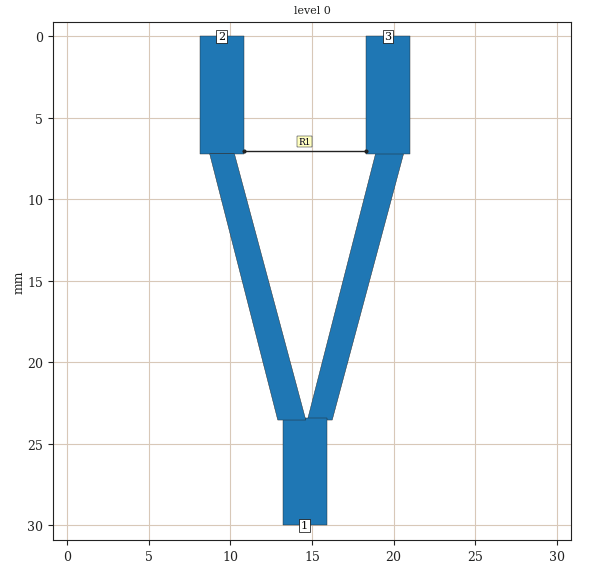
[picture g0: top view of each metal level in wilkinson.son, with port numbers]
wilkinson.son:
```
FTYP SONPROJ 13 ! Sonnet Project File
VER 15.53.lite
HEADER
LIC SL287748.103150 001c42b2201b ANTHONYBUGA3AE4 anthonybugatto
DAT 04/20/2018 22:56:15
BUILT_BY_CREATED xgeom 15.53-Lite 04/18/2018 14:51:20
BUILT_BY_SAVED xgeom 15.53-Lite
MDATE 04/20/2018 22:56:15
HDATE 04/20/2018 22:56:15
END HEADER
DIM
FREQ GHZ
IND NH
LNG MM
ANG DEG
CON /OH
CAP PF
RES OH
END DIM
FREQ
ABS 1.2 3.6 
END FREQ
CONTROL
ABS
OPTIONS  -dj 
SPEED 0
CACHE_ABS 1
TARG_ABS 300
Q_ACC N
END CONTROL
GEO
TMET "Free Space" 0 FREESPACE 376.7303136 0 0 0
BMET "Lossless" 0 SUP 0 0 0 0
BOX 1 30 30 200 200 20 0
      1000 1 1 0 0 0 0 "Air"
      1.5 4.4 1 0.02 0 0 0 "FR-4"
LORGN 0 30 U 
POR1 STD
POLY 14 1
2
1 50 0 0 0 14.54999978 30.00000014 
POR1 STD
POLY 16 1
0
2 50 0 0 0 9.44999978 7.96967751e-010 
POR1 STD
POLY 18 1
0
3 50 0 0 0 19.64999978 7.969678251e-010 
SMD 0 "R1"
ID 9
GNDREF F
TWTYPE CUST
TWVALUE 2
SBOX 12.22499973 16.27499983 6.442499984 7.657500017
PBSHW N
LPOS 14.24999978 6.442499984
TYPE IDEAL RES 100
SMDP 0 10.79999967 7.05 L 4 1 
SMDP 0 18.29999989 7.05 R 5 2 
END
NUM 5
0 5 -1 N 13 1 1 100 100 0 0 0 Y
18.9 7.2
20.6195943 7.2
16.24028 23.53956597
14.72014 23.53956597
18.9 7.2
END
0 5 -1 N 14 1 1 100 100 0 0 0 Y
13.19999989 23.40000014
15.89999967 23.40000014
15.89999967 30.00000014
13.19999989 30.00000014
13.19999989 23.40000014
END
0 5 -1 N 16 1 1 100 100 0 0 0 Y
8.09999989 7.96967751e-010
10.79999967 7.96967751e-010
10.79999967 7.20000014
8.09999989 7.20000014
8.09999989 7.96967751e-010
END
0 5 -1 N 18 1 1 100 100 0 0 0 Y
18.29999989 7.969678251e-010
20.99999967 7.969678251e-010
20.99999967 7.20000014
18.29999989 7.20000014
18.29999989 7.969678251e-010
END
0 5 -1 N 25 1 1 100 100 0 0 0 Y
12.9 23.53956
14.6196 23.53956
10.24029 7.2
8.72013 7.2
12.9 23.53956
END
END GEO
OPT
MAX 100
VARS
END
END OPT
VARSWP
END VARSWP
QSG
IMPORT NO
EXTRA_METAL NO
UNITS YES
ALIGN NO
REF NO
VIEW_RES NO
METALS NO
USED YES
END QSG
```
